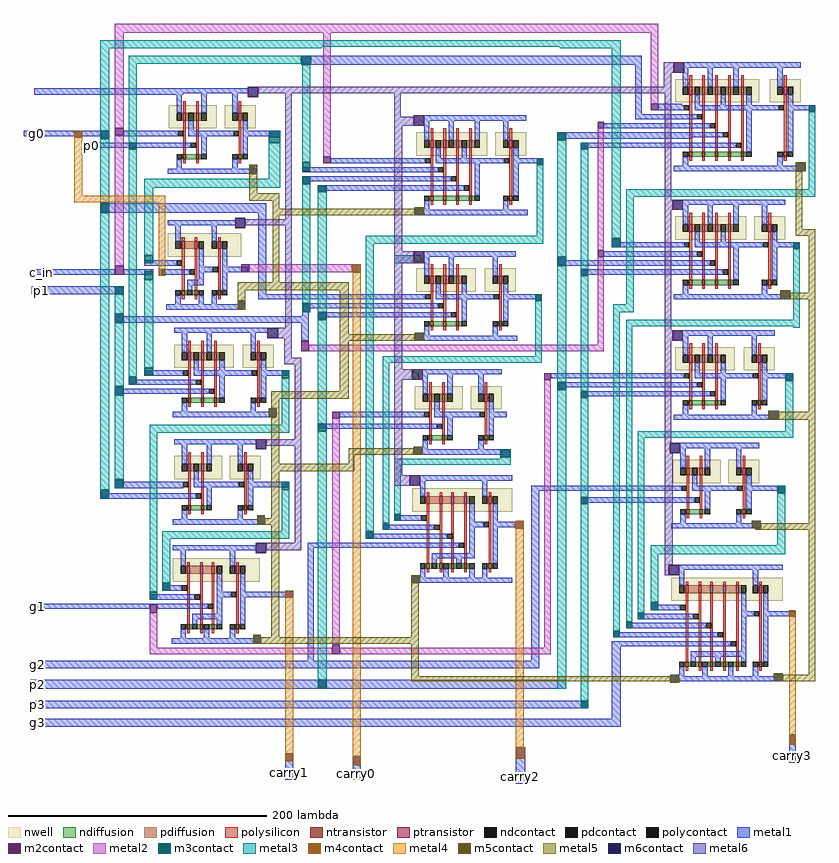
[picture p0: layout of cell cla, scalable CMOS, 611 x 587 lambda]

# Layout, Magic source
magic
tech scmos
<< metal1 >>
rect 106 104 369 111
rect -100 81 15 86
rect 65 79 73 87
rect 364 66 369 104
rect 394 98 402 106
rect 382 69 400 74
rect 492 69 503 73
rect 498 68 503 69
rect 193 57 201 65
rect 364 62 399 66
rect 340 55 392 59
rect -108 49 -42 53
rect -31 50 8 53
rect -38 49 8 50
rect 69 49 90 53
rect -69 48 -63 49
rect -49 47 -42 49
rect 81 48 90 49
rect 304 47 407 52
rect 304 46 311 47
rect -60 40 -1 44
rect 322 40 403 44
rect 322 39 328 40
rect 129 28 202 32
rect 271 28 293 32
rect 288 27 293 28
rect 107 21 195 25
rect 488 22 496 29
rect 107 14 199 18
rect 107 12 113 14
rect 119 7 196 11
rect 119 6 126 7
rect -49 -10 79 -3
rect 55 -22 63 -14
rect -15 -51 2 -47
rect -103 -58 -38 -54
rect -31 -58 -8 -54
rect 4 -58 14 -54
rect -102 -73 -31 -67
rect 73 -73 79 -10
rect 194 -12 201 -6
rect 393 -8 401 0
rect 346 -33 353 -30
rect 346 -37 403 -33
rect 483 -37 491 -33
rect 486 -38 491 -37
rect 193 -48 201 -40
rect 340 -44 396 -40
rect 304 -47 311 -44
rect 304 -51 403 -47
rect 322 -58 398 -54
rect 322 -59 328 -58
rect 73 -77 194 -73
rect 276 -77 292 -73
rect 476 -77 484 -70
rect 287 -78 292 -77
rect 57 -85 63 -78
rect 107 -84 193 -80
rect 107 -87 113 -84
rect -38 -90 -31 -88
rect 107 -90 112 -87
rect -38 -95 112 -90
rect 119 -91 197 -87
rect 119 -93 126 -91
rect 80 -107 88 -99
rect 106 -109 112 -95
rect 194 -109 201 -103
rect 393 -109 401 -101
rect -15 -136 5 -132
rect 89 -136 97 -132
rect -27 -139 -21 -137
rect 192 -139 200 -131
rect 299 -138 398 -134
rect 474 -138 486 -134
rect -27 -143 3 -139
rect 480 -140 486 -138
rect -38 -146 -31 -144
rect 304 -145 392 -141
rect -38 -150 4 -146
rect 304 -147 311 -145
rect -38 -151 -31 -150
rect 322 -152 398 -148
rect 322 -153 328 -152
rect 81 -168 87 -161
rect 136 -168 197 -164
rect 467 -170 475 -163
rect 119 -177 214 -173
rect 71 -193 79 -185
rect 193 -197 200 -191
rect 260 -199 268 -193
rect 391 -196 399 -188
rect -38 -218 -31 -216
rect -38 -223 15 -218
rect 79 -222 97 -218
rect 190 -221 198 -213
rect -49 -227 -42 -224
rect 284 -225 395 -221
rect 464 -225 480 -221
rect -49 -231 17 -227
rect 178 -244 183 -243
rect 72 -251 78 -244
rect 178 -248 191 -244
rect 169 -251 174 -250
rect 169 -255 196 -251
rect 271 -254 278 -249
rect 156 -258 162 -256
rect 156 -262 197 -258
rect 71 -273 79 -265
rect 111 -269 197 -265
rect -1 -298 5 -296
rect -1 -302 9 -298
rect 94 -303 100 -302
rect -11 -309 5 -305
rect 76 -307 100 -303
rect -102 -313 7 -312
rect -102 -316 -11 -313
rect -5 -316 7 -313
rect 69 -343 75 -336
rect 111 -356 116 -269
rect 191 -296 198 -290
rect 284 -356 290 -225
rect 474 -227 480 -225
rect 322 -234 396 -230
rect 322 -235 328 -234
rect 454 -254 461 -248
rect 390 -290 398 -282
rect 376 -313 382 -311
rect 376 -317 391 -313
rect 366 -320 371 -319
rect 366 -324 393 -320
rect 478 -322 488 -318
rect 357 -327 362 -326
rect 357 -331 391 -327
rect 347 -334 352 -333
rect 347 -338 391 -334
rect -103 -362 290 -356
rect 346 -345 392 -341
rect -103 -378 311 -371
rect -103 -393 328 -387
rect 346 -401 353 -345
rect 391 -373 398 -367
rect 471 -372 478 -366
rect -103 -407 353 -401
rect 94 -448 100 -428
rect 146 -448 152 -430
rect 272 -451 279 -423
rect 483 -435 488 -413
<< m2contact >>
rect 376 69 382 74
rect 335 55 340 60
rect -38 50 -31 55
rect 123 28 129 33
rect -38 -58 -31 -51
rect 60 -56 66 -50
rect 335 -44 340 -39
rect 106 -117 112 -109
rect 294 -139 299 -134
rect 130 -169 136 -164
rect -11 -319 -5 -313
rect 130 -351 136 -344
<< metal2 >>
rect -38 129 382 136
rect -38 55 -31 129
rect -38 -51 -31 50
rect 123 33 129 129
rect 376 74 382 129
rect 335 -39 340 55
rect 66 -56 149 -50
rect 335 -112 340 -44
rect 112 -117 340 -112
rect -11 -346 -5 -319
rect 130 -344 136 -169
rect -11 -351 130 -346
rect 294 -346 299 -139
rect 136 -351 299 -346
<< m3contact >>
rect 106 104 114 111
rect -49 47 -42 53
rect -49 -10 -42 -3
rect 81 44 90 53
rect -27 39 -21 44
rect 498 68 503 73
rect 304 46 311 52
rect 322 39 328 44
rect 107 22 113 29
rect 288 27 293 32
rect 107 12 113 18
rect 119 6 126 11
rect 346 -37 353 -30
rect 486 -38 491 -33
rect -15 -49 -8 -43
rect -15 -62 -8 -55
rect 304 -51 311 -44
rect 322 -59 328 -54
rect -38 -73 -31 -67
rect 287 -78 292 -73
rect 107 -87 113 -80
rect -38 -95 -31 -88
rect 119 -93 126 -87
rect -15 -136 -8 -130
rect -27 -143 -21 -137
rect 91 -138 97 -132
rect -38 -151 -31 -144
rect 119 -179 126 -173
rect -38 -223 -31 -216
rect 91 -224 97 -218
rect -49 -231 -42 -224
rect -1 -302 5 -296
rect -11 -309 -5 -303
rect 260 -199 268 -193
rect 178 -248 183 -243
rect 169 -255 174 -250
rect 156 -262 162 -256
rect 480 -140 486 -134
rect 304 -147 311 -141
rect 322 -153 328 -148
rect 474 -227 480 -221
rect 322 -235 328 -230
rect 376 -317 382 -311
rect 366 -324 371 -319
rect 357 -331 362 -326
rect 347 -338 352 -333
rect 119 -378 126 -371
rect 322 -393 328 -387
<< metal3 >>
rect -49 118 353 123
rect -49 117 122 118
rect 306 117 353 118
rect -49 53 -42 117
rect -49 -3 -42 47
rect -49 -224 -42 -10
rect -27 105 106 111
rect -27 44 -21 105
rect -38 -88 -31 -73
rect -38 -144 -31 -95
rect -27 -137 -21 39
rect 81 16 90 44
rect 107 29 113 104
rect -15 9 90 16
rect -15 -43 -8 9
rect -15 -130 -8 -62
rect 107 -80 113 12
rect 119 -87 126 6
rect 288 -28 293 27
rect 156 -34 293 -28
rect -38 -216 -31 -151
rect 91 -174 97 -138
rect -11 -180 97 -174
rect 119 -173 126 -93
rect -11 -303 -5 -180
rect 91 -256 97 -224
rect -1 -262 97 -256
rect -1 -296 5 -262
rect 119 -371 126 -179
rect 156 -256 162 -34
rect 178 -49 199 -43
rect 304 -44 311 46
rect 287 -121 292 -78
rect 169 -126 292 -121
rect 169 -250 174 -126
rect 192 -139 197 -133
rect 304 -141 311 -51
rect 260 -200 268 -199
rect 178 -205 268 -200
rect 178 -243 183 -205
rect 304 -378 311 -147
rect 322 -54 328 39
rect 346 -30 353 117
rect 498 8 503 68
rect 357 2 503 8
rect 322 -148 328 -59
rect 357 -81 363 2
rect 322 -230 328 -153
rect 322 -387 328 -235
rect 347 -87 363 -81
rect 347 -333 352 -87
rect 486 -93 491 -38
rect 357 -98 491 -93
rect 357 -326 362 -98
rect 486 -99 491 -98
rect 480 -179 486 -140
rect 366 -184 486 -179
rect 366 -319 371 -184
rect 474 -267 480 -227
rect 376 -274 480 -267
rect 376 -311 382 -274
<< m4contact >>
rect -69 48 -63 53
rect -4 -59 1 -54
rect 145 -56 152 -50
rect 94 -307 100 -302
rect 271 -254 278 -249
rect 483 -322 488 -317
rect 483 -421 488 -414
rect 94 -434 100 -428
rect 146 -437 152 -430
rect 272 -432 279 -423
<< metal4 >>
rect -69 3 -63 48
rect -69 -2 1 3
rect -4 -54 1 -2
rect 94 -428 100 -307
rect 146 -430 152 -56
rect 272 -249 278 -248
rect 272 -423 278 -254
rect 483 -414 488 -322
<< m5contact >>
rect 66 20 72 27
rect 488 22 496 29
rect 194 -12 201 -6
rect 57 -85 63 -78
rect 81 -168 87 -161
rect 72 -251 78 -244
rect 69 -343 75 -336
rect 476 -77 484 -70
rect 194 -109 201 -103
rect 467 -170 475 -163
rect 193 -197 200 -191
rect 454 -254 461 -248
rect 191 -296 198 -290
rect 391 -373 398 -367
rect 471 -372 478 -366
<< metal5 >>
rect 66 5 72 20
rect 66 -1 89 5
rect 84 -7 89 -1
rect 84 -12 194 -7
rect 84 -64 89 -12
rect 488 -23 493 22
rect 488 -28 503 -23
rect 57 -70 143 -64
rect 57 -78 63 -70
rect 136 -104 143 -70
rect 498 -72 503 -28
rect 484 -77 503 -72
rect 136 -109 194 -104
rect 136 -148 143 -109
rect 83 -154 143 -148
rect 83 -161 89 -154
rect 87 -168 89 -161
rect 83 -204 89 -168
rect 498 -164 503 -77
rect 475 -170 503 -164
rect 143 -197 193 -192
rect 143 -204 147 -197
rect 83 -210 147 -204
rect 83 -246 89 -210
rect 78 -251 89 -246
rect 83 -338 89 -251
rect 498 -250 503 -170
rect 461 -254 503 -250
rect 457 -255 503 -254
rect 191 -338 197 -296
rect 75 -343 197 -338
rect 191 -368 197 -343
rect 191 -372 391 -368
rect 498 -367 503 -255
rect 478 -372 503 -367
<< m6contact >>
rect 394 98 402 106
rect 65 79 73 87
rect 193 57 201 65
rect 393 -8 401 0
rect 55 -22 63 -14
rect 193 -48 201 -40
rect 80 -107 88 -99
rect 393 -109 401 -101
rect 192 -139 200 -131
rect 71 -193 79 -185
rect 391 -196 399 -188
rect 190 -221 198 -213
rect 71 -273 79 -265
rect 390 -290 398 -282
<< metal6 >>
rect 386 98 394 106
rect 386 87 392 98
rect 73 82 392 87
rect 94 -15 99 82
rect 63 -20 99 -15
rect 94 -99 99 -20
rect 88 -107 99 -99
rect 93 -122 99 -107
rect 178 64 183 82
rect 178 57 193 64
rect 178 -40 184 57
rect 387 0 392 82
rect 387 -8 393 0
rect 178 -48 193 -40
rect 178 -49 201 -48
rect 93 -127 106 -122
rect 101 -185 106 -127
rect 79 -190 106 -185
rect 101 -265 106 -190
rect 178 -131 184 -49
rect 387 -101 392 -8
rect 387 -109 393 -101
rect 178 -139 192 -131
rect 178 -213 184 -139
rect 387 -188 392 -109
rect 387 -196 391 -188
rect 178 -221 190 -213
rect 79 -271 106 -265
rect 387 -282 393 -196
rect 387 -290 390 -282
use 2and  2and_0
transform 1 0 4 0 1 56
box -5 -36 71 30
use 4and  4and_0
transform 1 0 195 0 1 35
box -5 -47 89 30
use 5and  5and_0
transform 1 0 395 0 1 76
box -5 -54 101 30
use 2or  2or_0
transform 1 0 16 0 1 -44
box -17 -41 49 28
use 3and  3and_0
transform 1 0 8 0 1 -129
box -5 -39 81 30
use 3and  3and_1
transform 1 0 195 0 1 -70
box -5 -39 81 30
use 4and  4and_1
transform 1 0 395 0 1 -30
box -5 -47 89 30
use 2and  2and_1
transform 1 0 8 0 1 -215
box -5 -36 71 30
use 2and  2and_2
transform 1 0 194 0 1 -161
box -5 -36 71 30
use 3and  3and_2
transform 1 0 395 0 1 -131
box -5 -39 81 30
use 3or  3or_0
transform 1 0 20 0 1 -302
box -17 -41 59 35
use 4or  4or_0
transform 1 0 205 0 1 -248
box -17 -48 69 35
use 2and  2and_3
transform 1 0 393 0 1 -218
box -5 -36 71 30
use 5or  5or_0
transform 1 0 405 0 1 -317
box -17 -55 78 35
<< labels >>
rlabel metal1 -60 40 -51 44 1 p0
rlabel metal1 94 -448 100 -437 1 carry1
rlabel metal1 146 -448 152 -439 1 carry0
rlabel metal1 272 -451 279 -440 1 carry2
rlabel metal1 483 -435 488 -424 1 carry3
rlabel metal1 -103 -407 -92 -401 1 g3
rlabel metal1 -103 -393 -92 -387 1 p3
rlabel metal1 -103 -378 -92 -371 1 p2
rlabel metal1 -103 -362 -92 -356 1 g2
rlabel metal1 -102 -316 -93 -312 1 g1
rlabel metal1 -102 -73 -87 -67 1 p1
rlabel metal1 -103 -58 -86 -54 1 c_in
rlabel metal1 -108 49 -89 53 1 g0
<< end >>

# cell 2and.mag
magic
tech scmos
<< nwell >>
rect 0 -1 37 17
rect 43 -1 67 17
<< ntransistor >>
rect 11 -25 13 -21
rect 21 -25 23 -21
rect 54 -25 56 -21
<< ptransistor >>
rect 11 5 13 11
rect 21 5 23 11
rect 54 5 56 11
<< ndiffusion >>
rect 10 -25 11 -21
rect 13 -25 21 -21
rect 23 -25 25 -21
rect 53 -25 54 -21
rect 56 -25 57 -21
<< pdiffusion >>
rect 10 5 11 11
rect 13 5 15 11
rect 19 5 21 11
rect 23 5 25 11
rect 53 5 54 11
rect 56 5 57 11
<< ndcontact >>
rect 6 -25 10 -21
rect 25 -25 29 -21
rect 49 -25 53 -21
rect 57 -25 61 -21
<< pdcontact >>
rect 6 5 10 11
rect 15 5 19 11
rect 25 5 29 11
rect 49 5 53 11
rect 57 5 61 11
<< polysilicon >>
rect 11 11 13 20
rect 21 11 23 20
rect 54 11 56 20
rect 11 -21 13 5
rect 21 -21 23 5
rect 54 -21 56 5
rect 11 -28 13 -25
rect 21 -28 23 -25
rect 54 -28 56 -25
<< polycontact >>
rect 7 -7 11 -3
rect 17 -16 21 -12
rect 50 -7 54 -3
<< metal1 >>
rect 0 26 67 30
rect 6 11 10 26
rect 25 11 29 26
rect 49 11 53 26
rect 15 -3 19 5
rect 57 -3 61 5
rect -5 -7 7 -3
rect 15 -7 50 -3
rect 57 -7 71 -3
rect -5 -16 17 -12
rect 25 -21 29 -7
rect 57 -21 61 -7
rect 6 -32 10 -25
rect 49 -32 53 -25
rect -1 -36 68 -32
<< end >>

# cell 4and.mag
magic
tech scmos
<< nwell >>
rect 0 -1 55 17
rect 61 -1 85 17
<< ntransistor >>
rect 11 -36 13 -32
rect 21 -36 23 -32
rect 31 -36 33 -32
rect 41 -36 43 -32
rect 72 -36 74 -32
<< ptransistor >>
rect 11 5 13 11
rect 21 5 23 11
rect 31 5 33 11
rect 41 5 43 11
rect 72 5 74 11
<< ndiffusion >>
rect 10 -36 11 -32
rect 13 -36 21 -32
rect 23 -36 31 -32
rect 33 -36 41 -32
rect 43 -36 45 -32
rect 71 -36 72 -32
rect 74 -36 75 -32
<< pdiffusion >>
rect 10 5 11 11
rect 13 5 15 11
rect 19 5 21 11
rect 23 5 25 11
rect 29 5 31 11
rect 33 5 35 11
rect 39 5 41 11
rect 43 5 45 11
rect 71 5 72 11
rect 74 5 75 11
<< ndcontact >>
rect 6 -36 10 -32
rect 45 -36 49 -32
rect 67 -36 71 -32
rect 75 -36 79 -32
<< pdcontact >>
rect 6 5 10 11
rect 15 5 19 11
rect 25 5 29 11
rect 35 5 39 11
rect 45 5 49 11
rect 67 5 71 11
rect 75 5 79 11
<< polysilicon >>
rect 11 11 13 20
rect 21 11 23 20
rect 31 11 33 20
rect 41 11 43 20
rect 72 11 74 20
rect 11 -32 13 5
rect 21 -32 23 5
rect 31 -32 33 5
rect 41 -32 43 5
rect 72 -32 74 5
rect 11 -39 13 -36
rect 21 -39 23 -36
rect 31 -39 33 -36
rect 41 -39 43 -36
rect 72 -39 74 -36
<< polycontact >>
rect 7 -7 11 -3
rect 17 -14 21 -10
rect 27 -21 31 -17
rect 37 -28 41 -24
rect 68 -7 72 -3
<< metal1 >>
rect 0 26 85 30
rect 6 11 10 26
rect 25 11 29 26
rect 45 11 49 26
rect 67 11 71 26
rect 15 -3 19 5
rect 35 -3 39 5
rect 75 -3 79 5
rect -5 -7 7 -3
rect 15 -7 68 -3
rect 75 -7 89 -3
rect -5 -14 17 -10
rect -5 -21 27 -17
rect -5 -28 37 -24
rect 45 -32 49 -7
rect 75 -32 79 -7
rect 6 -43 10 -36
rect 67 -43 71 -36
rect -1 -47 86 -43
<< end >>

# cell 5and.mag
magic
tech scmos
<< nwell >>
rect 0 -1 65 17
rect 73 -1 97 17
<< ntransistor >>
rect 11 -43 13 -39
rect 21 -43 23 -39
rect 31 -43 33 -39
rect 41 -43 43 -39
rect 51 -43 53 -39
rect 84 -43 86 -39
<< ptransistor >>
rect 11 5 13 11
rect 21 5 23 11
rect 31 5 33 11
rect 41 5 43 11
rect 51 5 53 11
rect 84 5 86 11
<< ndiffusion >>
rect 10 -43 11 -39
rect 13 -43 21 -39
rect 23 -43 31 -39
rect 33 -43 41 -39
rect 43 -43 51 -39
rect 53 -43 55 -39
rect 83 -43 84 -39
rect 86 -43 87 -39
<< pdiffusion >>
rect 10 5 11 11
rect 13 5 15 11
rect 19 5 21 11
rect 23 5 25 11
rect 29 5 31 11
rect 33 5 35 11
rect 39 5 41 11
rect 43 5 45 11
rect 49 5 51 11
rect 53 5 55 11
rect 83 5 84 11
rect 86 5 87 11
<< ndcontact >>
rect 6 -43 10 -39
rect 55 -43 59 -39
rect 79 -43 83 -39
rect 87 -43 91 -39
<< pdcontact >>
rect 6 5 10 11
rect 15 5 19 11
rect 25 5 29 11
rect 35 5 39 11
rect 45 5 49 11
rect 55 5 59 11
rect 79 5 83 11
rect 87 5 91 11
<< polysilicon >>
rect 11 11 13 20
rect 21 11 23 20
rect 31 11 33 20
rect 41 11 43 20
rect 51 11 53 20
rect 84 11 86 20
rect 11 -39 13 5
rect 21 -39 23 5
rect 31 -39 33 5
rect 41 -39 43 5
rect 51 -39 53 5
rect 84 -39 86 5
rect 11 -46 13 -43
rect 21 -46 23 -43
rect 31 -46 33 -43
rect 41 -46 43 -43
rect 51 -46 53 -43
rect 84 -46 86 -43
<< polycontact >>
rect 7 -7 11 -3
rect 17 -14 21 -10
rect 27 -21 31 -17
rect 37 -28 41 -24
rect 47 -36 51 -32
rect 80 -7 84 -3
<< metal1 >>
rect 0 26 97 30
rect 6 11 10 26
rect 25 11 29 26
rect 45 11 49 26
rect 79 11 83 26
rect 15 -3 19 5
rect 35 -3 39 5
rect 55 -3 59 5
rect 87 -3 91 5
rect -5 -7 7 -3
rect 15 -7 80 -3
rect 87 -7 101 -3
rect -5 -14 17 -10
rect -5 -21 27 -17
rect -5 -28 37 -24
rect -5 -36 47 -32
rect 55 -39 59 -7
rect 87 -39 91 -7
rect 6 -50 10 -43
rect 79 -50 83 -43
rect -1 -54 98 -50
<< end >>

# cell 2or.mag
magic
tech scmos
<< nwell >>
rect -13 0 44 18
<< ntransistor >>
rect -2 -30 0 -26
rect 8 -30 10 -26
rect 26 -30 28 -26
<< ptransistor >>
rect -2 6 0 12
rect 8 6 10 12
rect 26 6 28 12
<< ndiffusion >>
rect -3 -30 -2 -26
rect 0 -30 2 -26
rect 6 -30 8 -26
rect 10 -30 11 -26
rect 25 -30 26 -26
rect 28 -30 29 -26
<< pdiffusion >>
rect -3 6 -2 12
rect 0 6 8 12
rect 10 6 11 12
rect 25 6 26 12
rect 28 6 29 12
<< ndcontact >>
rect -7 -30 -3 -26
rect 2 -30 6 -26
rect 11 -30 15 -26
rect 21 -30 25 -26
rect 29 -30 33 -26
<< pdcontact >>
rect -7 6 -3 12
rect 11 6 15 12
rect 21 6 25 12
rect 29 6 33 12
<< polysilicon >>
rect -2 12 0 15
rect 8 12 10 15
rect 26 12 28 15
rect -2 -26 0 6
rect 8 -26 10 6
rect 26 -26 28 6
rect -2 -33 0 -30
rect 8 -33 10 -30
rect 26 -33 28 -30
<< polycontact >>
rect -6 -7 -2 -3
rect 4 -14 8 -10
rect 22 -12 26 -8
<< metal1 >>
rect -13 24 44 28
rect -7 12 -3 24
rect 21 12 25 24
rect -17 -7 -6 -3
rect 11 -8 15 6
rect 29 -8 33 6
rect -17 -14 4 -10
rect 11 -12 22 -8
rect 29 -12 49 -8
rect 11 -18 15 -12
rect 2 -22 15 -18
rect 2 -26 6 -22
rect 29 -26 33 -12
rect -7 -37 -3 -30
rect 11 -37 15 -30
rect 21 -37 25 -30
rect -14 -41 43 -37
<< end >>

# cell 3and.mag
magic
tech scmos
<< nwell >>
rect 0 -1 46 17
rect 53 -1 77 17
<< ntransistor >>
rect 11 -28 13 -24
rect 21 -28 23 -24
rect 31 -28 33 -24
rect 64 -28 66 -24
<< ptransistor >>
rect 11 5 13 11
rect 21 5 23 11
rect 31 5 33 11
rect 64 5 66 11
<< ndiffusion >>
rect 10 -28 11 -24
rect 13 -28 21 -24
rect 23 -28 31 -24
rect 33 -28 35 -24
rect 63 -28 64 -24
rect 66 -28 67 -24
<< pdiffusion >>
rect 10 5 11 11
rect 13 5 15 11
rect 19 5 21 11
rect 23 5 25 11
rect 29 5 31 11
rect 33 5 35 11
rect 63 5 64 11
rect 66 5 67 11
<< ndcontact >>
rect 6 -28 10 -24
rect 35 -28 39 -24
rect 59 -28 63 -24
rect 67 -28 71 -24
<< pdcontact >>
rect 6 5 10 11
rect 15 5 19 11
rect 25 5 29 11
rect 35 5 39 11
rect 59 5 63 11
rect 67 5 71 11
<< polysilicon >>
rect 11 11 13 20
rect 21 11 23 20
rect 31 11 33 20
rect 64 11 66 20
rect 11 -24 13 5
rect 21 -24 23 5
rect 31 -24 33 5
rect 64 -24 66 5
rect 11 -31 13 -28
rect 21 -31 23 -28
rect 31 -31 33 -28
rect 64 -31 66 -28
<< polycontact >>
rect 7 -7 11 -3
rect 17 -14 21 -10
rect 27 -21 31 -17
rect 60 -7 64 -3
<< metal1 >>
rect 0 26 77 30
rect 6 11 10 26
rect 25 11 29 26
rect 59 11 63 26
rect 15 -3 19 5
rect 35 -3 39 5
rect 67 -3 71 5
rect -5 -7 7 -3
rect 15 -7 60 -3
rect 67 -7 81 -3
rect -5 -14 17 -10
rect -5 -21 27 -17
rect 35 -24 39 -7
rect 67 -24 71 -7
rect 6 -35 10 -28
rect 59 -35 63 -28
rect -1 -39 78 -35
<< end >>

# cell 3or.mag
magic
tech scmos
<< nwell >>
rect -13 7 54 25
<< ntransistor >>
rect -2 -30 0 -26
rect 8 -30 10 -26
rect 17 -30 19 -26
rect 36 -30 38 -26
<< ptransistor >>
rect -2 13 0 19
rect 8 13 10 19
rect 17 13 19 19
rect 36 13 38 19
<< ndiffusion >>
rect -3 -30 -2 -26
rect 0 -30 2 -26
rect 6 -30 8 -26
rect 10 -30 11 -26
rect 15 -30 17 -26
rect 19 -30 21 -26
rect 35 -30 36 -26
rect 38 -30 39 -26
<< pdiffusion >>
rect -3 13 -2 19
rect 0 13 8 19
rect 10 13 17 19
rect 19 13 21 19
rect 35 13 36 19
rect 38 13 39 19
<< ndcontact >>
rect -7 -30 -3 -26
rect 2 -30 6 -26
rect 11 -30 15 -26
rect 21 -30 25 -26
rect 31 -30 35 -26
rect 39 -30 43 -26
<< pdcontact >>
rect -7 13 -3 19
rect 21 13 25 19
rect 31 13 35 19
rect 39 13 43 19
<< polysilicon >>
rect -2 19 0 22
rect 8 19 10 22
rect 17 19 19 22
rect 36 19 38 22
rect -2 -26 0 13
rect 8 -26 10 13
rect 17 -10 19 13
rect 18 -14 19 -10
rect 17 -26 19 -14
rect 36 -26 38 13
rect -2 -33 0 -30
rect 8 -33 10 -30
rect 17 -33 19 -30
rect 36 -33 38 -30
<< polycontact >>
rect -6 0 -2 4
rect 4 -7 8 -3
rect 32 -5 36 -1
rect 14 -14 18 -10
<< metal1 >>
rect -13 31 54 35
rect -7 19 -3 31
rect 31 19 35 31
rect -17 0 -6 4
rect 21 -1 25 13
rect 39 -1 43 13
rect -17 -7 4 -3
rect 21 -5 32 -1
rect 39 -5 59 -1
rect -17 -14 14 -10
rect 21 -18 25 -5
rect 2 -22 25 -18
rect 2 -26 6 -22
rect 21 -26 25 -22
rect 39 -26 43 -5
rect -7 -37 -3 -30
rect 11 -37 15 -30
rect 31 -37 35 -30
rect -14 -41 54 -37
<< end >>

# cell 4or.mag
magic
tech scmos
<< nwell >>
rect -13 7 64 25
<< ntransistor >>
rect -2 -37 0 -33
rect 8 -37 10 -33
rect 17 -37 19 -33
rect 27 -37 29 -33
rect 46 -37 48 -33
<< ptransistor >>
rect -2 13 0 19
rect 8 13 10 19
rect 17 13 19 19
rect 27 13 29 19
rect 46 13 48 19
<< ndiffusion >>
rect -3 -37 -2 -33
rect 0 -37 2 -33
rect 6 -37 8 -33
rect 10 -37 11 -33
rect 15 -37 17 -33
rect 19 -37 21 -33
rect 25 -37 27 -33
rect 29 -37 31 -33
rect 45 -37 46 -33
rect 48 -37 49 -33
<< pdiffusion >>
rect -3 13 -2 19
rect 0 13 8 19
rect 10 13 17 19
rect 19 13 27 19
rect 29 13 31 19
rect 45 13 46 19
rect 48 13 49 19
<< ndcontact >>
rect -7 -37 -3 -33
rect 2 -37 6 -33
rect 11 -37 15 -33
rect 21 -37 25 -33
rect 31 -37 35 -33
rect 41 -37 45 -33
rect 49 -37 53 -33
<< pdcontact >>
rect -7 13 -3 19
rect 31 13 35 19
rect 41 13 45 19
rect 49 13 53 19
<< polysilicon >>
rect -2 19 0 22
rect 8 19 10 22
rect 17 19 19 22
rect 27 19 29 22
rect 46 19 48 22
rect -2 -33 0 13
rect 8 -33 10 13
rect 17 -10 19 13
rect 18 -14 19 -10
rect 17 -33 19 -14
rect 27 -33 29 13
rect 46 -33 48 13
rect -2 -40 0 -37
rect 8 -40 10 -37
rect 17 -40 19 -37
rect 27 -40 29 -37
rect 46 -40 48 -37
<< polycontact >>
rect -6 0 -2 4
rect 4 -7 8 -3
rect 14 -14 18 -10
rect 23 -21 27 -17
rect 42 -5 46 -1
<< metal1 >>
rect -13 31 64 35
rect -7 19 -3 31
rect 41 19 45 31
rect -17 0 -6 4
rect 31 -1 35 13
rect 49 -1 53 13
rect -17 -7 4 -3
rect 31 -5 42 -1
rect 49 -5 69 -1
rect -17 -14 14 -10
rect -17 -21 23 -17
rect 31 -25 35 -5
rect 2 -29 35 -25
rect 2 -33 6 -29
rect 21 -33 25 -29
rect 49 -33 53 -5
rect -7 -44 -3 -37
rect 11 -44 15 -37
rect 31 -44 35 -37
rect 41 -44 45 -37
rect -14 -48 64 -44
<< end >>

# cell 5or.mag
magic
tech scmos
<< nwell >>
rect -13 7 73 25
<< ntransistor >>
rect -2 -44 0 -40
rect 8 -44 10 -40
rect 17 -44 19 -40
rect 27 -44 29 -40
rect 37 -44 39 -40
rect 55 -44 57 -40
<< ptransistor >>
rect -2 13 0 19
rect 8 13 10 19
rect 17 13 19 19
rect 27 13 29 19
rect 37 13 39 19
rect 55 13 57 19
<< ndiffusion >>
rect -3 -44 -2 -40
rect 0 -44 2 -40
rect 6 -44 8 -40
rect 10 -44 11 -40
rect 15 -44 17 -40
rect 19 -44 21 -40
rect 25 -44 27 -40
rect 29 -44 31 -40
rect 35 -44 37 -40
rect 39 -44 41 -40
rect 54 -44 55 -40
rect 57 -44 58 -40
<< pdiffusion >>
rect -3 13 -2 19
rect 0 13 8 19
rect 10 13 17 19
rect 19 13 27 19
rect 29 13 37 19
rect 39 13 41 19
rect 54 13 55 19
rect 57 13 58 19
<< ndcontact >>
rect -7 -44 -3 -40
rect 2 -44 6 -40
rect 11 -44 15 -40
rect 21 -44 25 -40
rect 31 -44 35 -40
rect 41 -44 45 -40
rect 50 -44 54 -40
rect 58 -44 62 -40
<< pdcontact >>
rect -7 13 -3 19
rect 41 13 45 19
rect 50 13 54 19
rect 58 13 62 19
<< polysilicon >>
rect -2 19 0 22
rect 8 19 10 22
rect 17 19 19 22
rect 27 19 29 22
rect 37 19 39 22
rect 55 19 57 22
rect -2 -40 0 13
rect 8 -40 10 13
rect 17 -10 19 13
rect 18 -14 19 -10
rect 17 -40 19 -14
rect 27 -40 29 13
rect 37 -40 39 13
rect 55 -40 57 13
rect -2 -47 0 -44
rect 8 -47 10 -44
rect 17 -47 19 -44
rect 27 -47 29 -44
rect 37 -47 39 -44
rect 55 -47 57 -44
<< polycontact >>
rect -6 0 -2 4
rect 4 -7 8 -3
rect 14 -14 18 -10
rect 23 -21 27 -17
rect 33 -28 37 -24
rect 51 -5 55 -1
<< metal1 >>
rect -13 31 73 35
rect -7 19 -3 31
rect 50 19 54 31
rect -17 0 -6 4
rect 41 -1 45 13
rect 58 -1 62 13
rect -17 -7 4 -3
rect 41 -5 51 -1
rect 58 -5 78 -1
rect -17 -14 14 -10
rect -17 -21 23 -17
rect -17 -28 33 -24
rect 41 -32 45 -5
rect 2 -36 45 -32
rect 2 -40 6 -36
rect 21 -40 25 -36
rect 41 -40 45 -36
rect 58 -40 62 -5
rect -7 -51 -3 -44
rect 11 -51 15 -44
rect 31 -51 35 -44
rect 50 -51 54 -44
rect -14 -55 73 -51
<< end >>
